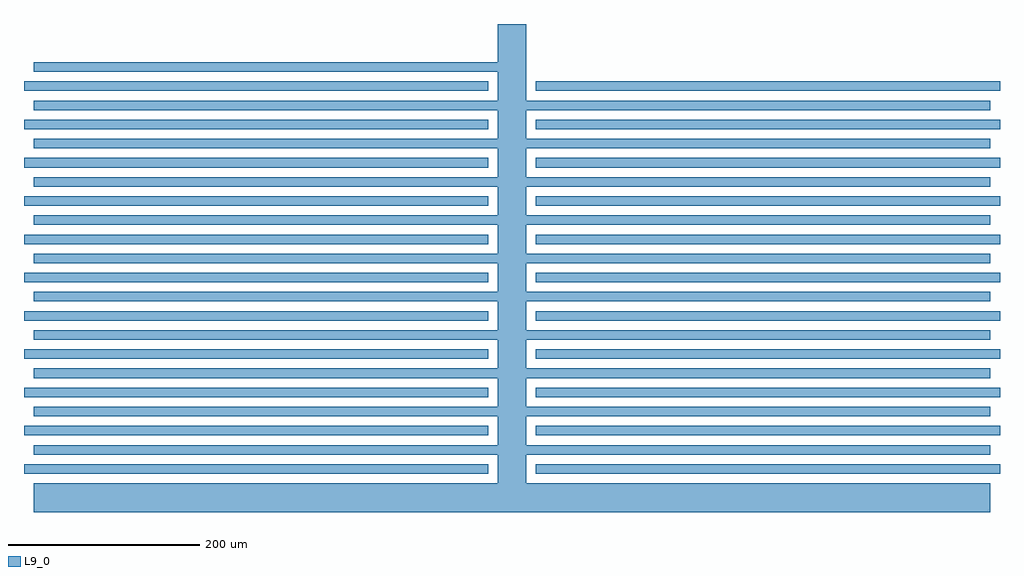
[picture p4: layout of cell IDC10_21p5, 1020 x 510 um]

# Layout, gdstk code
import gdstk
lib = gdstk.Library(unit=1e-6, precision=1e-09)
def R(c, l, rs):  # rectangles x0, y0, x1, y1
    for r in rs: c.add(gdstk.rectangle(r[:2], r[2:], *l))
L9_0 = (9, 0)

idc10_0p5 = lib.new_cell('IDC10_0p5')
R(idc10_0p5, L9_0, [(-2750,605,-2265,615)])

idc10_1 = lib.new_cell('IDC10_1')
R(idc10_1, L9_0, [(-2760,585,-2275,595), (-2225,585,-1740,595)])

idc_section = lib.new_cell('IDC_section')
R(idc_section, L9_0, [(-5760,145,-5275,155), (-5225,145,-4740,155), (-5750,165,-5265,175), (-5235,165,-4750,175)])

idc10_21p5 = lib.new_cell('IDC10_21p5')
R(idc10_21p5, L9_0, [(-1250,105,-250,135), (-765,135,-735,615)])
idc10_21p5.add(gdstk.Reference(idc10_0p5, (1500,-40)))
idc10_21p5.add(gdstk.Reference(idc10_1, (1500,-40)))
r = gdstk.Reference(idc_section, (4500,0)); r.repetition = gdstk.Repetition(1, 10, v1=(1020,0), v2=(0,40)); idc10_21p5.add(r)

lib.write_gds('IDC10_21p5.gds')
